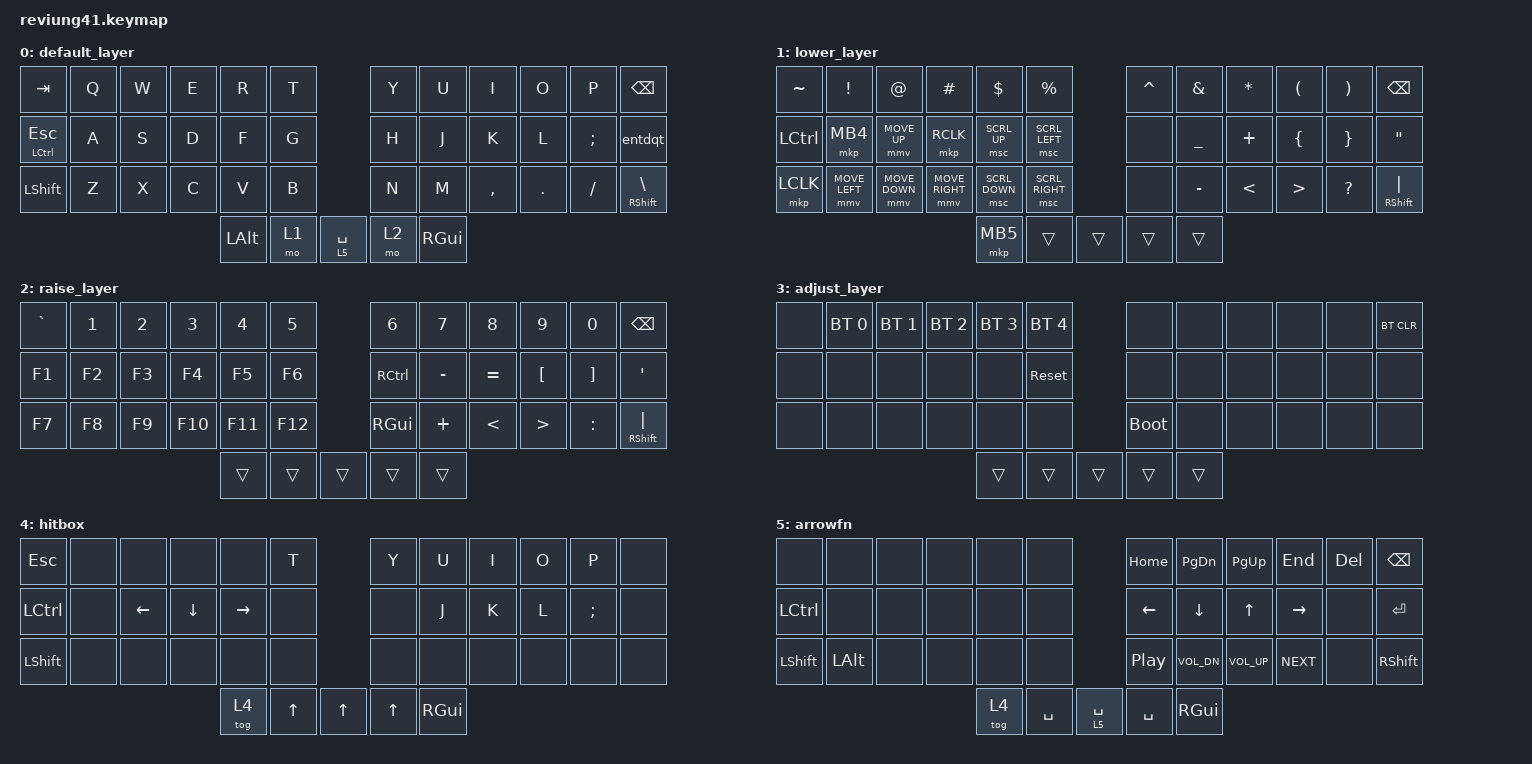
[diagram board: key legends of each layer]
/*
 * Copyright (c) 2020 The ZMK Contributors
 *
 * SPDX-License-Identifier: MIT
 */

#include <behaviors.dtsi>
#include <dt-bindings/zmk/keys.h>
#include <dt-bindings/zmk/bt.h>

#define ZMK_POINTING_DEFAULT_MOVE_VAL 1500 
#define ZMK_POINTING_DEFAULT_SCRL_VAL 20  
#include <dt-bindings/zmk/pointing.h>

&mmv {
    time-to-max-speed-ms = <300>;
    acceleration-exponent = <1>;
};

&msc {
    time-to-max-speed-ms = <300>;
    acceleration-exponent=<0>;
};

/ {

        behaviors {
                entdqt: enter_dquote {
                        compatible = "zmk,behavior-mod-morph";
                        label = "ENTER_DQUOTE";
                        #binding-cells = <0>;
                        bindings = <&kp ENTER>, <&kp DQT>;
                        mods = <(MOD_LSFT)>;
                };
        };

        conditional_layers {
            compatible = "zmk,conditional-layers";
            tri_layer {
                if-layers = <1 2>;
                then-layer = <3>;
            };
        };
        
        keymap {
                compatible = "zmk,keymap";

                default_layer {
                        bindings = <
   &kp TAB         &kp Q    &kp W    &kp E    &kp R     &kp T                &kp Y    &kp U    &kp I       &kp O     &kp P      &kp BSPC
   &mt LCTRL ESC   &kp A    &kp S    &kp D    &kp F     &kp G                &kp H    &kp J    &kp K       &kp L     &kp SEMI   &entdqt
   &kp LSHFT       &kp Z    &kp X    &kp C    &kp V     &kp B                &kp N    &kp M    &kp COMMA   &kp DOT   &kp FSLH   &mt RSHFT BSLH
                                              &kp LALT  &mo 1  &lt 5 SPACE   &mo 2    &kp RGUI 
                        >;
                };

                lower_layer {
                        bindings = <
   &kp TILDE  &kp EXCL       &kp AT          &kp HASH         &kp DLLR         &kp PRCNT                &kp CARET  &kp AMPS   &kp STAR  &kp LPAR  &kp RPAR    &kp BSPC
   &kp LCTRL  &mkp MB4       &mmv MOVE_UP    &mkp RCLK        &msc SCRL_UP     &msc SCRL_LEFT           &none      &kp UNDER  &kp PLUS  &kp LBRC  &kp RBRC    &kp DQT
   &mkp LCLK  &mmv MOVE_LEFT &mmv MOVE_DOWN  &mmv MOVE_RIGHT  &msc SCRL_DOWN   &msc SCRL_RIGHT          &none      &kp MINUS  &kp LT    &kp GT    &kp QMARK   &mt RSHFT PIPE
                                                              &mkp MB5         &trans        &trans     &trans     &trans
                        >;
                };

                raise_layer {
                        bindings = <
   &kp GRAVE   &kp N1    &kp N2    &kp N3     &kp N4     &kp N5                &kp N6     &kp N7     &kp N8     &kp N9    &kp N0       &kp BSPC
   &kp F1      &kp F2    &kp F3    &kp F4     &kp F5     &kp F6                &kp RCTRL  &kp MINUS  &kp EQUAL  &kp LBKT  &kp RBKT     &kp SQT
   &kp F7      &kp F8    &kp F9    &kp F10    &kp F11    &kp F12               &kp RGUI   &kp PLUS   &kp LT     &kp GT    &kp COLON    &mt RSHFT PIPE
                                              &trans     &trans      &trans    &trans     &trans
                        >;
                };

                adjust_layer {
                        bindings = <
   &none   &bt BT_SEL 0  &bt BT_SEL 1  &bt BT_SEL 2  &bt BT_SEL 3  &bt BT_SEL 4               &none         &none         &none         &none         &none         &bt BT_CLR
   &none   &none         &none         &none         &none         &sys_reset                 &none         &none         &none         &none         &none         &none
   &none   &none         &none         &none         &none         &none                      &bootloader   &none         &none         &none         &none         &none
                                                     &trans        &trans           &trans    &trans        &trans
                        >;
                };
                
                hitbox {
                        bindings = <
   &kp ESC      &none   &none      &none     &none      &kp T             &kp Y   &kp U   &kp I  &kp O  &kp P     &none
   &kp LCTRL    &none   &kp LEFT   &kp DOWN  &kp RIGHT  &none             &none   &kp J   &kp K  &kp L  &kp SEMI  &none
   &kp LSHFT    &none   &none      &none     &none      &none             &none   &none   &none  &none  &none     &none
                                             &tog 4     &kp UP   &kp UP   &kp UP  &kp RGUI
                        >;
                };
                
                arrowfn {
                        bindings = <
   &none       &none    &none  &none   &none      &none                     &kp HOME   &kp PG_DN     &kp PG_UP     &kp END     &kp DEL  &kp BSPC
   &kp LCTRL   &none    &none  &none   &none      &none                     &kp LEFT   &kp DOWN      &kp UP        &kp RIGHT   &none    &kp ENTER
   &kp LSHFT   &kp LALT &none  &none   &none      &none                     &kp C_PP   &kp C_VOL_DN  &kp C_VOL_UP  &kp C_NEXT  &none    &kp RSHFT
                                       &tog 4     &kp SPACE   &lt 5 SPACE   &kp SPACE  &kp RGUI
                        >;
                };
        };
};
